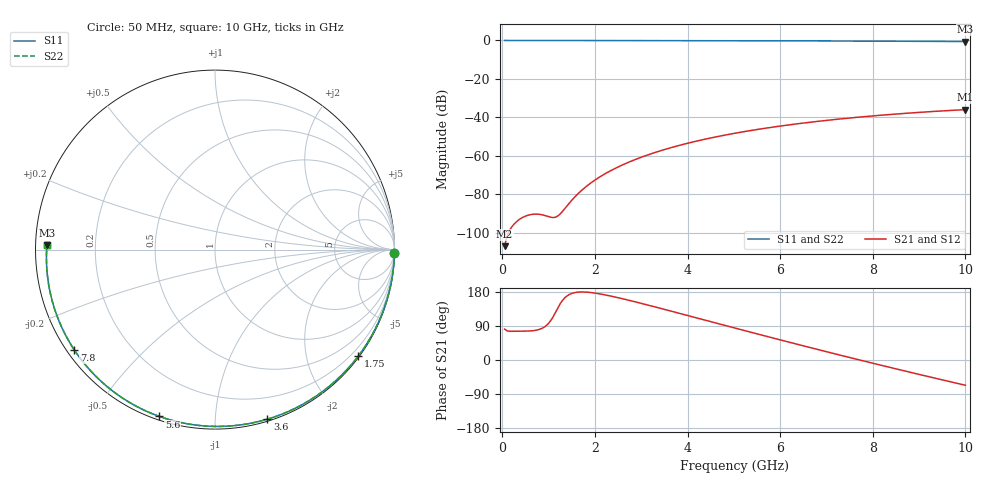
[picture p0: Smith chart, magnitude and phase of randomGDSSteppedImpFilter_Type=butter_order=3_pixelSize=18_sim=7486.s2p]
! freq	dB(S11)	phase(S11)	dB(S12)	phase(S12)
!  dB(S21)	phase(S21)	dB(S22)	phase(S22)
!S-par simulation data
#  GHz  S  DB  R 50
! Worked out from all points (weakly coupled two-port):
!   200 points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, 50 MHz to 10 GHz, reference 50 ohm
!   highest |S21| = -35.97 dB at 10 GHz (marker M1); lowest = -107.0 dB at 50 MHz (marker M2)
!   lowest |S11| = -0.6 dB at 10 GHz (marker M3), VSWR 30.71, Z = 1.63 + j0.63 ohm
!   |S11| at or under -10 dB: nowhere
!   |S22| runs from -0.6 to 0.0 dB; largest |S21 - S12| = 0
!   S11 on the Smith chart (normalised r, x): 50 MHz: open; 1.75 GHz: 0.03, -3.02; 3.6 GHz: 0.02, -1.35; 5.6 GHz: 0.02, -0.72; 7.8 GHz: 0.02, -0.32; 10 GHz: 0.03, +0.01
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0.05  -0.00 -1.1  -107.00 81.5  -107.00 81.5  -0.00 -1.1
0.4  -0.01 -8.5  -92.59 76.1  -92.59 76.1  -0.01 -8.5
0.8  -0.02 -17.0  -90.43 80.8  -90.43 80.8  -0.02 -17.0
1.6  -0.04 -33.6  -80.54 178.6  -80.54 178.6  -0.04 -33.6
1.65  -0.04 -34.6  -79.36 179.3  -79.36 179.3  -0.04 -34.6
1.75  -0.05 -36.7  -77.19 179.5  -77.19 179.5  -0.05 -36.7
2.05  -0.05 -42.8  -71.83 175.6  -71.83 175.6  -0.05 -42.8
2.25  -0.06 -46.8  -68.92 171.1  -68.92 171.1  -0.06 -46.8
2.45  -0.06 -50.8  -66.39 165.8  -66.39 165.8  -0.06 -50.8
2.9  -0.08 -59.6  -61.66 152.6  -61.66 152.6  -0.08 -59.6
3.4  -0.09 -69.1  -57.48 136.9  -57.48 136.9  -0.09 -69.1
3.6  -0.10 -72.9  -56.05 130.4  -56.05 130.4  -0.10 -72.9
4.3  -0.12 -85.7  -51.76 107.7  -51.76 107.7  -0.12 -85.7
5.05  -0.15 -99.0  -48.14 83.4  -48.14 83.4  -0.15 -99.0
5.6  -0.18 -108.4  -45.94 65.8  -45.94 65.8  -0.18 -108.4
6.15  -0.21 -117.6  -44.04 48.4  -44.04 48.4  -0.21 -117.6
6.7  -0.24 -126.7  -42.39 31.2  -42.39 31.2  -0.24 -126.7
7.25  -0.28 -135.7  -40.94 14.2  -40.94 14.2  -0.28 -135.7
7.8  -0.33 -144.6  -39.67 -2.5  -39.67 -2.5  -0.33 -144.6
8.35  -0.38 -153.5  -38.55 -18.9  -38.55 -18.9  -0.38 -153.5
9.2  -0.47 -167.6  -37.09 -43.8  -37.09 -43.8  -0.47 -167.6
10  -0.57 178.6  -35.97 -66.6  -35.97 -66.6  -0.57 178.6
